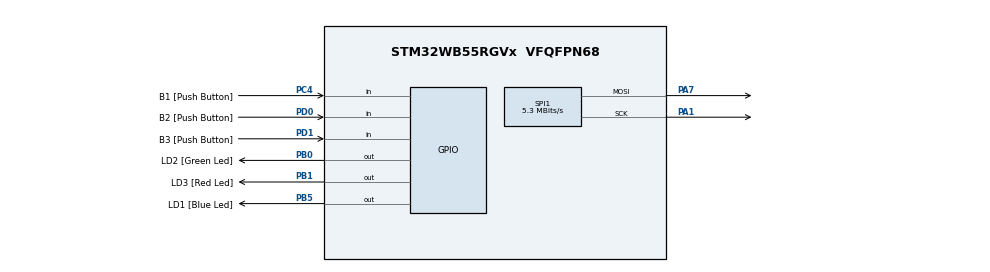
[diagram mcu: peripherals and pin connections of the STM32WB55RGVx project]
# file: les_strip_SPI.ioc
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Mcu.Family=STM32WB
Mcu.Name=STM32WB55RGVx
Mcu.Package=VFQFPN68
NVIC.PriorityGroup=NVIC_PRIORITYGROUP_4
OSC_IN.Mode=HSE-External-Oscillator
OSC_IN.Signal=RCC_OSC_IN
OSC_OUT.Mode=HSE-External-Oscillator
OSC_OUT.Signal=RCC_OSC_OUT
PA1.Mode=TX_Only_Simplex_Unidirect_Master
PA1.Signal=SPI1_SCK
PA13.GPIO_Label=JTMS
PA13.Mode=Trace_Asynchronous_SW
PA13.Signal=SYS_JTMS-SWDIO
PA14.GPIO_Label=JTCK
PA14.Mode=Trace_Asynchronous_SW
PA14.Signal=SYS_JTCK-SWCLK
PA7.Mode=TX_Only_Simplex_Unidirect_Master
PA7.Signal=SPI1_MOSI
PB0.GPIO_Label=LD2 [Green Led]
PB0.Signal=GPIO_Output
PB1.GPIO_Label=LD3 [Red Led]
PB1.Signal=GPIO_Output
PB3.GPIO_Label=JTDO
PB3.Mode=Trace_Asynchronous_SW
PB3.Signal=SYS_JTDO-SWO
PB5.GPIO_Label=LD1 [Blue Led]
PB5.Signal=GPIO_Output
PC13.Mode=SYS_WakeUp1
PC13.Signal=SYS_WKUP2
PC14-OSC32_IN.Mode=LSE-External-Oscillator
PC14-OSC32_IN.Signal=RCC_OSC32_IN
PC15-OSC32_OUT.Mode=LSE-External-Oscillator
PC15-OSC32_OUT.Signal=RCC_OSC32_OUT
PC4.GPIO_Label=B1 [Push Button]
PC4.Signal=GPIO_Input
PD0.GPIO_Label=B2 [Push Button]
PD0.Signal=GPIO_Input
PD1.GPIO_Label=B3 [Push Button]
PD1.Signal=GPIO_Input
ProjectManager.HeapSize=0x200
ProjectManager.StackSize=0x400
ProjectManager.TargetToolchain=STM32CubeIDE
RCC.ADCFreq_Value=48000000
RCC.AHB2CLKDivider=RCC_SYSCLK_DIV2
RCC.AHBFreq_Value=42400000
RCC.APB1Freq_Value=42400000
RCC.APB1TimFreq_Value=42400000
RCC.APB2Freq_Value=42400000
RCC.APB2TimFreq_Value=42400000
RCC.APB3Freq_Value=16000000
RCC.Cortex2_Div=SYSTICK_CLKSOURCE_HCLK_DIV8
RCC.CortexFreq_Value=42400000
RCC.HCLKFreq_Value=42400000
RCC.HSE_VALUE=32000000
RCC.HSI48_VALUE=48000000
RCC.HSI_VALUE=16000000
RCC.PLLN=53
RCC.PLLR=RCC_PLLR_DIV5
RCC.PLLSAI1N=24
RCC.SMPSCLockSelectionVirtual=RCC_SMPSCLKSOURCE_HSI
RCC.SMPSCLockSelectionVirtualVirtual=RCC_SMPSCLKSOURCE_HSI
RCC.SMPSDivider=1
RCC.SYSCLKFreq_VALUE=42400000
RCC.SYSCLKSource=RCC_SYSCLKSOURCE_PLLCLK
RCC.USBFreq_Value=48000000
RCC.VCOOutputFreq_Value=212000000
SPI1.BaudRatePrescaler=SPI_BAUDRATEPRESCALER_8
SPI1.CalculateBaudRate=5.3 MBits/s
SPI1.DataSize=SPI_DATASIZE_8BIT
SPI1.Direction=SPI_DIRECTION_2LINES
SPI1.FirstBit=SPI_FIRSTBIT_LSB
SPI1.Mode=SPI_MODE_MASTER
SPI1.VirtualType=VM_MASTER
board=NUCLEO-WB55RG

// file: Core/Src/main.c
/* USER CODE BEGIN Header */
/**
  ******************************************************************************
  * @file           : main.c
  * @brief          : Main program body
  ******************************************************************************
  * @attention
  *
  * Copyright (c) 2023 STMicroelectronics.
  * All rights reserved.
  *
  * This software is licensed under terms that can be found in the LICENSE file
  * in the root directory of this software component.
  * If no LICENSE file comes with this software, it is provided AS-IS.
  *
  ******************************************************************************
  */
/* USER CODE END Header */
#include "main.h"
#include "spi.h"
#include "gpio.h"

/* USER CODE BEGIN Includes */
#include <string.h>
/* USER CODE END Includes */

/* USER CODE BEGIN PV */
extern uint8_t ws2812_buffer[WS2812_BUFFER_SIZE];
/* USER CODE END PV */

void SystemClock_Config(void);
void PeriphCommonClock_Config(void);
/* USER CODE BEGIN PFP */
void ws2812_init(void);
void ws2812_send_spi(void);
void ws2812_pixel(uint16_t led_no, uint8_t r, uint8_t g, uint8_t b);
void ws2812_pixel_all(uint8_t r, uint8_t g, uint8_t b);
void effect_1(void);
/* USER CODE END PFP */

/* USER CODE BEGIN 0 */
void ws2812_init(void) {
	ws2812_pixel_all(0, 0, 0);
	 HAL_SPI_Transmit_DMA(&hspi1, ws2812_buffer, WS2812_BUFFER_SIZE);
//    ws2812_send_spi();
}

void ws2812_send_spi(void) {
    HAL_SPI_Transmit(&hspi1, ws2812_buffer, WS2812_BUFFER_SIZE, HAL_MAX_DELAY);
}

#define WS2812_FILL_BUFFER(COLOR) \
    for( uint8_t mask = 0x80; mask; mask >>= 1 ) { \
        if( COLOR & mask ) { \
            *ptr++ = 0xfc; \
        } else { \
            *ptr++ = 0x80; \
        } \
    }

void ws2812_pixel(uint16_t led_no, uint8_t r, uint8_t g, uint8_t b) {
    uint8_t * ptr = &ws2812_buffer[24 * led_no];
    WS2812_FILL_BUFFER(g);
    WS2812_FILL_BUFFER(r);
    WS2812_FILL_BUFFER(b);
}

void ws2812_pixel_all(uint8_t r, uint8_t g, uint8_t b) {
    uint8_t * ptr = ws2812_buffer;
    for( uint16_t i = 0; i < WS2812_NUM_LEDS; ++i) {
    	WS2812_FILL_BUFFER(g);
        WS2812_FILL_BUFFER(r);
        WS2812_FILL_BUFFER(b);
    }
}

void effect_1(void){
	uint8_t cnt;
	  for( cnt=0;cnt<WS2812_NUM_LEDS;cnt++){
		  ws2812_pixel(cnt,32, 0, 0);
		  ws2812_send_spi();
		  HAL_Delay(50);
	  }
	  for( cnt=(WS2812_NUM_LEDS-1);cnt>=0&&cnt<WS2812_NUM_LEDS;cnt--){
			  ws2812_pixel(cnt,0, 0, 0);
			  ws2812_send_spi();
			  HAL_Delay(50);
		  }
	  for( cnt=0;cnt<WS2812_NUM_LEDS;cnt++){
		  ws2812_pixel(cnt,0, 32, 0);
		  ws2812_send_spi();
		  HAL_Delay(50);
	  }
	  for( cnt=(WS2812_NUM_LEDS-1);cnt>=0&&cnt<WS2812_NUM_LEDS;cnt--){
			  ws2812_pixel(cnt,0, 0, 0);
			  ws2812_send_spi();
			  HAL_Delay(50);
		  }
	  for( cnt=0;cnt<WS2812_NUM_LEDS;cnt++){
		  ws2812_pixel(cnt,0, 0, 32);
		  ws2812_send_spi();
		  HAL_Delay(50);
	  }
	  for( cnt=(WS2812_NUM_LEDS-1);cnt>=0&&cnt<WS2812_NUM_LEDS;cnt--){
			  ws2812_pixel(cnt,0, 0, 0);
			  ws2812_send_spi();
			  HAL_Delay(50);
	  }
}
/* USER CODE END 0 */

int main(void)
{

  /* MCU Configuration--------------------------------------------------------*/

  /* Reset of all peripherals, Initializes the Flash interface and the Systick. */
  HAL_Init();

  /* Configure the system clock */
  SystemClock_Config();

/* Configure the peripherals common clocks */
  PeriphCommonClock_Config();

  /* Initialize all configured peripherals */
  MX_GPIO_Init();
  MX_SPI1_Init();
  /* USER CODE BEGIN 2 */
  ws2812_init();
  /* USER CODE END 2 */

  /* Infinite loop */
  /* USER CODE BEGIN WHILE */
  while (1)
  {
	  effect_1();

    /* USER CODE END WHILE */

  }
}

void SystemClock_Config(void)
{
  RCC_OscInitTypeDef RCC_OscInitStruct = {0};
  RCC_ClkInitTypeDef RCC_ClkInitStruct = {0};

  /** Configure the main internal regulator output voltage
  */
  __HAL_PWR_VOLTAGESCALING_CONFIG(PWR_REGULATOR_VOLTAGE_SCALE1);

  /** Initializes the RCC Oscillators according to the specified parameters
  * in the RCC_OscInitTypeDef structure.
  */
  RCC_OscInitStruct.OscillatorType = RCC_OSCILLATORTYPE_HSI|RCC_OSCILLATORTYPE_HSE
                              |RCC_OSCILLATORTYPE_MSI;
  RCC_OscInitStruct.HSEState = RCC_HSE_ON;
  RCC_OscInitStruct.HSIState = RCC_HSI_ON;
  RCC_OscInitStruct.MSIState = RCC_MSI_ON;
  RCC_OscInitStruct.HSICalibrationValue = RCC_HSICALIBRATION_DEFAULT;
  RCC_OscInitStruct.MSICalibrationValue = RCC_MSICALIBRATION_DEFAULT;
  RCC_OscInitStruct.MSIClockRange = RCC_MSIRANGE_6;
  RCC_OscInitStruct.PLL.PLLState = RCC_PLL_ON;
  RCC_OscInitStruct.PLL.PLLSource = RCC_PLLSOURCE_MSI;
  RCC_OscInitStruct.PLL.PLLM = RCC_PLLM_DIV1;
  RCC_OscInitStruct.PLL.PLLN = 53;
  RCC_OscInitStruct.PLL.PLLP = RCC_PLLP_DIV2;
  RCC_OscInitStruct.PLL.PLLR = RCC_PLLR_DIV5;
  RCC_OscInitStruct.PLL.PLLQ = RCC_PLLQ_DIV2;
  if (HAL_RCC_OscConfig(&RCC_OscInitStruct) != HAL_OK)
  {
    Error_Handler();
  }

  /** Configure the SYSCLKSource, HCLK, PCLK1 and PCLK2 clocks dividers
  */
  RCC_ClkInitStruct.ClockType = RCC_CLOCKTYPE_HCLK4|RCC_CLOCKTYPE_HCLK2
                              |RCC_CLOCKTYPE_HCLK|RCC_CLOCKTYPE_SYSCLK
                              |RCC_CLOCKTYPE_PCLK1|RCC_CLOCKTYPE_PCLK2;
  RCC_ClkInitStruct.SYSCLKSource = RCC_SYSCLKSOURCE_PLLCLK;
  RCC_ClkInitStruct.AHBCLKDivider = RCC_SYSCLK_DIV1;
  RCC_ClkInitStruct.APB1CLKDivider = RCC_HCLK_DIV1;
  RCC_ClkInitStruct.APB2CLKDivider = RCC_HCLK_DIV1;
  RCC_ClkInitStruct.AHBCLK2Divider = RCC_SYSCLK_DIV2;
  RCC_ClkInitStruct.AHBCLK4Divider = RCC_SYSCLK_DIV1;

  if (HAL_RCC_ClockConfig(&RCC_ClkInitStruct, FLASH_LATENCY_2) != HAL_OK)
  {
    Error_Handler();
  }
}

void PeriphCommonClock_Config(void)
{
  RCC_PeriphCLKInitTypeDef PeriphClkInitStruct = {0};

  /** Initializes the peripherals clock
  */
  PeriphClkInitStruct.PeriphClockSelection = RCC_PERIPHCLK_SMPS;
  PeriphClkInitStruct.SmpsClockSelection = RCC_SMPSCLKSOURCE_HSI;
  PeriphClkInitStruct.SmpsDivSelection = RCC_SMPSCLKDIV_RANGE0;

  if (HAL_RCCEx_PeriphCLKConfig(&PeriphClkInitStruct) != HAL_OK)
  {
    Error_Handler();
  }
}

void Error_Handler(void)
{
  __disable_irq();
  while (1)
  {
  }
}
